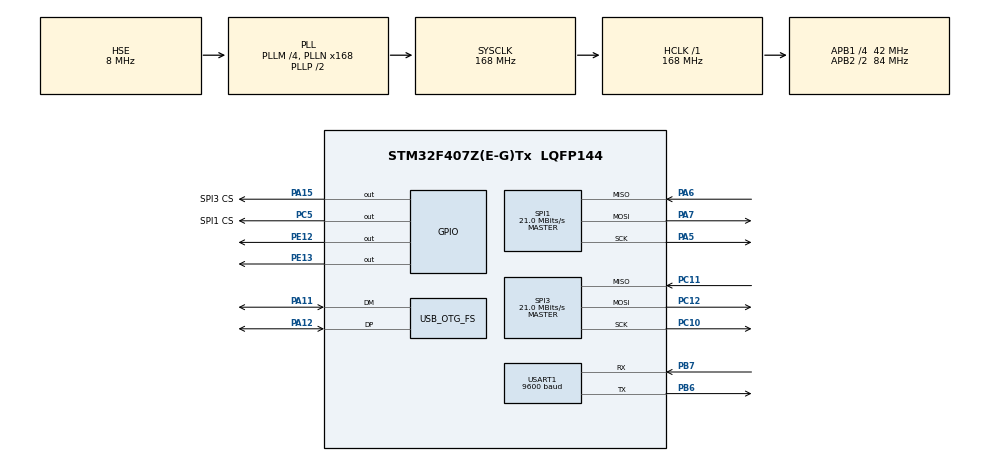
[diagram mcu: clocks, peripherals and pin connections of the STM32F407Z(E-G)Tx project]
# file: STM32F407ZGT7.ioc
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Mcu.Family=STM32F4
Mcu.Name=STM32F407Z(E-G)Tx
Mcu.Package=LQFP144
NVIC.OTG_FS_IRQn=true\:0\:0\:false\:false\:true\:false\:true
NVIC.PriorityGroup=NVIC_PRIORITYGROUP_4
PA11.Mode=Device_Only
PA11.Signal=USB_OTG_FS_DM
PA12.Mode=Device_Only
PA12.Signal=USB_OTG_FS_DP
PA13.Mode=Serial_Wire
PA13.Signal=SYS_JTMS-SWDIO
PA14.Mode=Serial_Wire
PA14.Signal=SYS_JTCK-SWCLK
PA15.GPIO_Label=SPI3 CS
PA15.PinState=GPIO_PIN_SET
PA15.Signal=GPIO_Output
PA5.Mode=Full_Duplex_Master
PA5.Signal=SPI1_SCK
PA6.Mode=Full_Duplex_Master
PA6.Signal=SPI1_MISO
PA7.Mode=Full_Duplex_Master
PA7.Signal=SPI1_MOSI
PB6.Mode=Asynchronous
PB6.Signal=USART1_TX
PB7.Mode=Asynchronous
PB7.Signal=USART1_RX
PC10.Mode=Full_Duplex_Master
PC10.Signal=SPI3_SCK
PC11.Mode=Full_Duplex_Master
PC11.Signal=SPI3_MISO
PC12.Mode=Full_Duplex_Master
PC12.Signal=SPI3_MOSI
PC5.GPIO_Label=SPI1 CS
PC5.PinState=GPIO_PIN_SET
PC5.Signal=GPIO_Output
PE12.GPIO_PuPd=GPIO_NOPULL
PE12.Signal=GPIO_Output
PE13.Signal=GPIO_Output
PH0-OSC_IN.Mode=HSE-External-Oscillator
PH0-OSC_IN.Signal=RCC_OSC_IN
PH1-OSC_OUT.Mode=HSE-External-Oscillator
PH1-OSC_OUT.Signal=RCC_OSC_OUT
ProjectManager.HeapSize=0x200
ProjectManager.StackSize=0x400
ProjectManager.TargetToolchain=STM32CubeIDE
RCC.48MHZClocksFreq_Value=48000000
RCC.AHBFreq_Value=168000000
RCC.APB1CLKDivider=RCC_HCLK_DIV4
RCC.APB1Freq_Value=42000000
RCC.APB1TimFreq_Value=84000000
RCC.APB2CLKDivider=RCC_HCLK_DIV2
RCC.APB2Freq_Value=84000000
RCC.APB2TimFreq_Value=168000000
RCC.CortexFreq_Value=168000000
RCC.HCLKFreq_Value=168000000
RCC.HSE_VALUE=8000000
RCC.HSI_VALUE=16000000
RCC.LSE_VALUE=32768
RCC.PLLM=4
RCC.PLLN=168
RCC.PLLQ=7
RCC.SYSCLKFreq_VALUE=168000000
RCC.SYSCLKSource=RCC_SYSCLKSOURCE_PLLCLK
RCC.VCOOutputFreq_Value=336000000
SPI1.BaudRatePrescaler=SPI_BAUDRATEPRESCALER_4
SPI1.CalculateBaudRate=21.0 MBits/s
SPI1.Direction=SPI_DIRECTION_2LINES
SPI1.Mode=SPI_MODE_MASTER
SPI1.VirtualType=VM_MASTER
SPI3.BaudRatePrescaler=SPI_BAUDRATEPRESCALER_2
SPI3.CalculateBaudRate=21.0 MBits/s
SPI3.Direction=SPI_DIRECTION_2LINES
SPI3.Mode=SPI_MODE_MASTER
SPI3.VirtualType=VM_MASTER
USART1.BaudRate=9600
USART1.VirtualMode=VM_ASYNC
USB_DEVICE.CLASS_NAME_FS=CDC
USB_DEVICE.VirtualMode-CDC_FS=Cdc
USB_DEVICE.VirtualModeFS=Cdc_FS
USB_OTG_FS.VirtualMode=Device_Only
VP_TIM4_VS_ClockSourceINT.Mode=Internal
VP_USB_DEVICE_VS_USB_DEVICE_CDC_FS.Mode=CDC_FS
board=custom

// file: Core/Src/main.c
/* USER CODE BEGIN Header */
/**
  ******************************************************************************
  * @file           : main.c
  * @brief          : Main program body
  ******************************************************************************
  * @attention
  *
  * <h2><center>&copy; Copyright (c) 2021 STMicroelectronics.
  * All rights reserved.</center></h2>
  *
  * This software component is licensed by ST under BSD 3-Clause license,
  * the "License"; You may not use this file except in compliance with the
  * License. You may obtain a copy of the License at:
  *                        opensource.org/licenses/BSD-3-Clause
  *
  ******************************************************************************
  */
/* USER CODE END Header */
#include "main.h"
#include "usb_device.h"

/* USER CODE BEGIN Includes */

#include <stdbool.h>
#include <string.h>
#include "usbd_cdc_if.h"
#include "3d.h"
#include <App.h>
#include <lsm6ds3.h>
#include "main.h"
#include "usb_device.h"
#include "bmp38x.h"

/* USER CODE END Includes */

SPI_HandleTypeDef hspi1;
SPI_HandleTypeDef hspi3;

TIM_HandleTypeDef htim4;

UART_HandleTypeDef huart1;

void SystemClock_Config(void);
static void MX_GPIO_Init(void);
static void MX_SPI1_Init(void);
static void MX_TIM4_Init(void);
static void MX_USART1_UART_Init(void);
static void MX_SPI3_Init(void);

int main(void)
{

  /* MCU Configuration--------------------------------------------------------*/

  /* Reset of all peripherals, Initializes the Flash interface and the Systick. */
  HAL_Init();

  /* USER CODE BEGIN Init */

  //int32_t CH1_DC = 0;
  //int32_t CH2_DC = 65534;
  //uint16_t Var = 0;
  //uint8_t i = 0;
  //uint8_t j = 0;
  //uint8_t byte = 0x55;

  vector3_t AccelData;
  vector3_t GyroData;
  //quaternion_t Orientation;
  barometer_t BMP;
  bmp_calibration_data calib_data;

  bool Fire_Pyro1 = 0;
  bool Pyro1_Fired = 0;
  bool Fire_Pyro2 = 0;
  bool Pyro2_Fired = 0;

  /* USER CODE END Init */

  /* Configure the system clock */
  SystemClock_Config();

  /* Initialize all configured peripherals */
  MX_GPIO_Init();
  MX_SPI1_Init();
  MX_USB_DEVICE_Init();
  MX_TIM4_Init();
  MX_USART1_UART_Init();
  MX_SPI3_Init();
  /* USER CODE BEGIN 2 */

  //HAL_GPIO_WritePin(GPIOC, GPIO_PIN_5, GPIO_PIN_SET);
  //HAL_GPIO_WritePin(GPIOA, GPIO_PIN_15, GPIO_PIN_SET);

/*  HAL_TIM_Base_Start(&htim4);
  HAL_TIM_PWM_Start(&htim4, TIM_CHANNEL_1);
  HAL_TIM_PWM_Start(&htim4, TIM_CHANNEL_2);*/

  BMP38X_Init(SPI3_CS_GPIO_Port, SPI3_CS_Pin, hspi3, &calib_data);
  LSM6DS3_Init(SPI1_CS_GPIO_Port, SPI1_CS_Pin, hspi1, LSM6DSL_ACC_FULLSCALE_16G, LSM6DSL_GYRO_FS_500, LSM6DSL_ODR_1660Hz );
  BMP_Read_Data(&BMP, &calib_data);

  //char *data = "0.1";
  //uint16_t VCP_BUF_LEN = 0;
  char uart_buf[80];

  /* USER CODE END 2 */

  /* Infinite loop */
  /* USER CODE BEGIN WHILE */
  while (1)
  {

	  if (Fire_Pyro1 == 1 && Pyro1_Fired != 1)
		{
		  HAL_GPIO_WritePin(GPIOE, GPIO_PIN_12, GPIO_PIN_SET);
		  HAL_Delay(500);
		  HAL_GPIO_WritePin(GPIOE, GPIO_PIN_12, GPIO_PIN_RESET);
		  Pyro1_Fired = 1;
		}

	  if (Fire_Pyro2 == 1 && Pyro2_Fired != 1)
		{
		  HAL_GPIO_WritePin(GPIOE, GPIO_PIN_13, GPIO_PIN_SET);
		  HAL_Delay(500);
		  HAL_GPIO_WritePin(GPIOE, GPIO_PIN_13, GPIO_PIN_RESET);
		  Pyro2_Fired = 1;
		}

	  LSM6DS3_AccReadXYZ(&AccelData);
	  LSM6DS3_GyroReadXYZ(&GyroData);

	  //snprintf(uart_buf, sizeof(uart_buf), " ACCEL X: %d, Y: %d Z: %d | GYRO X: %d, Y: %d Z: %d    \r\n ", (AccelData.X), (AccelData.Y), (AccelData.Z), (GyroData.X), (GyroData.Y), (GyroData.Z));

	  CDC_Transmit_FS((uint8_t *) uart_buf, sizeof(uart_buf));

	  //HAL_UART_Transmit(&huart1, &byte, 1, 100);
	  HAL_Delay(500);

/*

      while(CH1_DC < 65535)
      {
          TIM4->CCR1 = CH1_DC;
          CH1_DC += 70;
          HAL_Delay(1);
      }
      while(CH2_DC > 0)
      {
          TIM4->CCR2 = CH2_DC;
          CH2_DC -= 70;
          HAL_Delay(1);
      }
      while(CH1_DC > 0)
      {
          TIM4->CCR1 = CH1_DC;
          CH1_DC -= 70;
          HAL_Delay(1);
      }
      while(CH2_DC < 65535)
      {
          TIM4->CCR2 = CH2_DC;
          CH2_DC += 70;
          HAL_Delay(1);
      }

*/

    /* USER CODE END WHILE */

  }
}

void SystemClock_Config(void)
{
  RCC_OscInitTypeDef RCC_OscInitStruct = {0};
  RCC_ClkInitTypeDef RCC_ClkInitStruct = {0};

  /** Configure the main internal regulator output voltage
  */
  __HAL_RCC_PWR_CLK_ENABLE();
  __HAL_PWR_VOLTAGESCALING_CONFIG(PWR_REGULATOR_VOLTAGE_SCALE1);
  /** Initializes the RCC Oscillators according to the specified parameters
  * in the RCC_OscInitTypeDef structure.
  */
  RCC_OscInitStruct.OscillatorType = RCC_OSCILLATORTYPE_HSE;
  RCC_OscInitStruct.HSEState = RCC_HSE_ON;
  RCC_OscInitStruct.PLL.PLLState = RCC_PLL_ON;
  RCC_OscInitStruct.PLL.PLLSource = RCC_PLLSOURCE_HSE;
  RCC_OscInitStruct.PLL.PLLM = 4;
  RCC_OscInitStruct.PLL.PLLN = 168;
  RCC_OscInitStruct.PLL.PLLP = RCC_PLLP_DIV2;
  RCC_OscInitStruct.PLL.PLLQ = 7;
  if (HAL_RCC_OscConfig(&RCC_OscInitStruct) != HAL_OK)
  {
    Error_Handler();
  }
  /** Initializes the CPU, AHB and APB buses clocks
  */
  RCC_ClkInitStruct.ClockType = RCC_CLOCKTYPE_HCLK|RCC_CLOCKTYPE_SYSCLK
                              |RCC_CLOCKTYPE_PCLK1|RCC_CLOCKTYPE_PCLK2;
  RCC_ClkInitStruct.SYSCLKSource = RCC_SYSCLKSOURCE_PLLCLK;
  RCC_ClkInitStruct.AHBCLKDivider = RCC_SYSCLK_DIV1;
  RCC_ClkInitStruct.APB1CLKDivider = RCC_HCLK_DIV4;
  RCC_ClkInitStruct.APB2CLKDivider = RCC_HCLK_DIV2;

  if (HAL_RCC_ClockConfig(&RCC_ClkInitStruct, FLASH_LATENCY_5) != HAL_OK)
  {
    Error_Handler();
  }
}

static void MX_SPI1_Init(void)
{

  /* SPI1 parameter configuration*/
  hspi1.Instance = SPI1;
  hspi1.Init.Mode = SPI_MODE_MASTER;
  hspi1.Init.Direction = SPI_DIRECTION_2LINES;
  hspi1.Init.DataSize = SPI_DATASIZE_8BIT;
  hspi1.Init.CLKPolarity = SPI_POLARITY_LOW;
  hspi1.Init.CLKPhase = SPI_PHASE_1EDGE;
  hspi1.Init.NSS = SPI_NSS_SOFT;
  hspi1.Init.BaudRatePrescaler = SPI_BAUDRATEPRESCALER_4;
  hspi1.Init.FirstBit = SPI_FIRSTBIT_MSB;
  hspi1.Init.TIMode = SPI_TIMODE_DISABLE;
  hspi1.Init.CRCCalculation = SPI_CRCCALCULATION_DISABLE;
  hspi1.Init.CRCPolynomial = 10;
  if (HAL_SPI_Init(&hspi1) != HAL_OK)
  {
    Error_Handler();
  }

}

static void MX_SPI3_Init(void)
{

  /* SPI3 parameter configuration*/
  hspi3.Instance = SPI3;
  hspi3.Init.Mode = SPI_MODE_MASTER;
  hspi3.Init.Direction = SPI_DIRECTION_2LINES;
  hspi3.Init.DataSize = SPI_DATASIZE_8BIT;
  hspi3.Init.CLKPolarity = SPI_POLARITY_LOW;
  hspi3.Init.CLKPhase = SPI_PHASE_1EDGE;
  hspi3.Init.NSS = SPI_NSS_SOFT;
  hspi3.Init.BaudRatePrescaler = SPI_BAUDRATEPRESCALER_2;
  hspi3.Init.FirstBit = SPI_FIRSTBIT_MSB;
  hspi3.Init.TIMode = SPI_TIMODE_DISABLE;
  hspi3.Init.CRCCalculation = SPI_CRCCALCULATION_DISABLE;
  hspi3.Init.CRCPolynomial = 10;
  if (HAL_SPI_Init(&hspi3) != HAL_OK)
  {
    Error_Handler();
  }

}

static void MX_TIM4_Init(void)
{

  TIM_ClockConfigTypeDef sClockSourceConfig = {0};
  TIM_MasterConfigTypeDef sMasterConfig = {0};

  htim4.Instance = TIM4;
  htim4.Init.Prescaler = 0;
  htim4.Init.CounterMode = TIM_COUNTERMODE_UP;
  htim4.Init.Period = 65535;
  htim4.Init.ClockDivision = TIM_CLOCKDIVISION_DIV1;
  htim4.Init.AutoReloadPreload = TIM_AUTORELOAD_PRELOAD_DISABLE;
  if (HAL_TIM_Base_Init(&htim4) != HAL_OK)
  {
    Error_Handler();
  }
  sClockSourceConfig.ClockSource = TIM_CLOCKSOURCE_INTERNAL;
  if (HAL_TIM_ConfigClockSource(&htim4, &sClockSourceConfig) != HAL_OK)
  {
    Error_Handler();
  }
  sMasterConfig.MasterOutputTrigger = TIM_TRGO_RESET;
  sMasterConfig.MasterSlaveMode = TIM_MASTERSLAVEMODE_DISABLE;
  if (HAL_TIMEx_MasterConfigSynchronization(&htim4, &sMasterConfig) != HAL_OK)
  {
    Error_Handler();
  }

}

static void MX_USART1_UART_Init(void)
{

  huart1.Instance = USART1;
  huart1.Init.BaudRate = 9600;
  huart1.Init.WordLength = UART_WORDLENGTH_8B;
  huart1.Init.StopBits = UART_STOPBITS_1;
  huart1.Init.Parity = UART_PARITY_NONE;
  huart1.Init.Mode = UART_MODE_TX_RX;
  huart1.Init.HwFlowCtl = UART_HWCONTROL_NONE;
  huart1.Init.OverSampling = UART_OVERSAMPLING_16;
  if (HAL_UART_Init(&huart1) != HAL_OK)
  {
    Error_Handler();
  }

}

static void MX_GPIO_Init(void)
{
  GPIO_InitTypeDef GPIO_InitStruct = {0};

  /* GPIO Ports Clock Enable */
  __HAL_RCC_GPIOH_CLK_ENABLE();
  __HAL_RCC_GPIOA_CLK_ENABLE();
  __HAL_RCC_GPIOC_CLK_ENABLE();
  __HAL_RCC_GPIOE_CLK_ENABLE();
  __HAL_RCC_GPIOB_CLK_ENABLE();

  /*Configure GPIO pin Output Level */
  HAL_GPIO_WritePin(SPI1_CS_GPIO_Port, SPI1_CS_Pin, GPIO_PIN_SET);

  /*Configure GPIO pin Output Level */
  HAL_GPIO_WritePin(GPIOE, GPIO_PIN_12|GPIO_PIN_13, GPIO_PIN_RESET);

  /*Configure GPIO pin Output Level */
  HAL_GPIO_WritePin(SPI3_CS_GPIO_Port, SPI3_CS_Pin, GPIO_PIN_SET);

  /*Configure GPIO pin : SPI1_CS_Pin */
  GPIO_InitStruct.Pin = SPI1_CS_Pin;
  GPIO_InitStruct.Mode = GPIO_MODE_OUTPUT_PP;
  GPIO_InitStruct.Pull = GPIO_NOPULL;
  GPIO_InitStruct.Speed = GPIO_SPEED_FREQ_LOW;
  HAL_GPIO_Init(SPI1_CS_GPIO_Port, &GPIO_InitStruct);

  /*Configure GPIO pins : PE12 PE13 */
  GPIO_InitStruct.Pin = GPIO_PIN_12|GPIO_PIN_13;
  GPIO_InitStruct.Mode = GPIO_MODE_OUTPUT_PP;
  GPIO_InitStruct.Pull = GPIO_NOPULL;
  GPIO_InitStruct.Speed = GPIO_SPEED_FREQ_LOW;
  HAL_GPIO_Init(GPIOE, &GPIO_InitStruct);

  /*Configure GPIO pin : SPI3_CS_Pin */
  GPIO_InitStruct.Pin = SPI3_CS_Pin;
  GPIO_InitStruct.Mode = GPIO_MODE_OUTPUT_PP;
  GPIO_InitStruct.Pull = GPIO_NOPULL;
  GPIO_InitStruct.Speed = GPIO_SPEED_FREQ_LOW;
  HAL_GPIO_Init(SPI3_CS_GPIO_Port, &GPIO_InitStruct);

}

void Error_Handler(void)
{
  /* USER CODE BEGIN Error_Handler_Debug */
  /* User can add his own implementation to report the HAL error return state */
  //__disable_irq();***
  while (1)
  {
  }
  /* USER CODE END Error_Handler_Debug */
}
